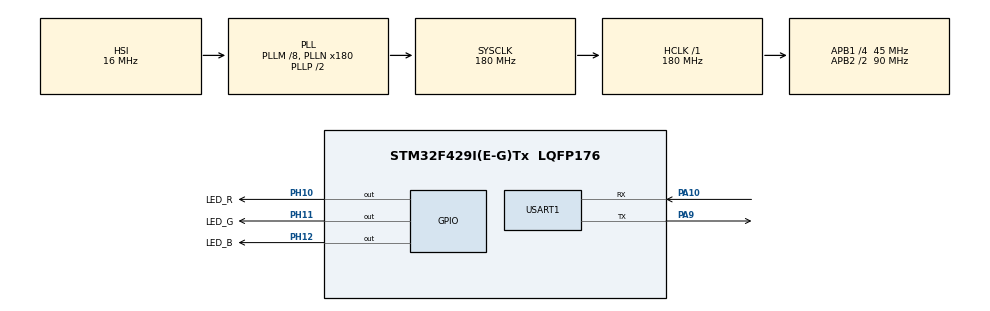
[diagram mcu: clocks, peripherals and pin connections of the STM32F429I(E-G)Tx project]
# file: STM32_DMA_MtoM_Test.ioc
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Dma.MEMTOMEM.0.Direction=DMA_MEMORY_TO_MEMORY
Dma.MEMTOMEM.0.FIFOMode=DMA_FIFOMODE_ENABLE
Dma.MEMTOMEM.0.FIFOThreshold=DMA_FIFO_THRESHOLD_FULL
Dma.MEMTOMEM.0.Instance=DMA2_Stream0
Dma.MEMTOMEM.0.MemBurst=DMA_MBURST_SINGLE
Dma.MEMTOMEM.0.MemDataAlignment=DMA_MDATAALIGN_BYTE
Dma.MEMTOMEM.0.MemInc=DMA_MINC_ENABLE
Dma.MEMTOMEM.0.Mode=DMA_NORMAL
Dma.MEMTOMEM.0.PeriphBurst=DMA_PBURST_SINGLE
Dma.MEMTOMEM.0.PeriphDataAlignment=DMA_PDATAALIGN_BYTE
Dma.MEMTOMEM.0.PeriphInc=DMA_PINC_ENABLE
Dma.MEMTOMEM.0.Priority=DMA_PRIORITY_HIGH
Dma.Request0=MEMTOMEM
Mcu.Family=STM32F4
Mcu.Name=STM32F429I(E-G)Tx
Mcu.Package=LQFP176
NVIC.PriorityGroup=NVIC_PRIORITYGROUP_4
PA10.Mode=Asynchronous
PA10.Signal=USART1_RX
PA9.Mode=Asynchronous
PA9.Signal=USART1_TX
PH0/OSC_IN.Mode=HSE-External-Oscillator
PH0/OSC_IN.Signal=RCC_OSC_IN
PH1/OSC_OUT.Mode=HSE-External-Oscillator
PH1/OSC_OUT.Signal=RCC_OSC_OUT
PH10.GPIO_Label=LED_R
PH10.Signal=GPIO_Output
PH11.GPIO_Label=LED_G
PH11.Signal=GPIO_Output
PH12.GPIO_Label=LED_B
PH12.Signal=GPIO_Output
ProjectManager.HeapSize=0x200
ProjectManager.StackSize=0x400
ProjectManager.TargetToolchain=MDK-ARM V5.27
RCC.48MHZClocksFreq_Value=90000000
RCC.AHBFreq_Value=180000000
RCC.APB1CLKDivider=RCC_HCLK_DIV4
RCC.APB1Freq_Value=45000000
RCC.APB1TimFreq_Value=90000000
RCC.APB2CLKDivider=RCC_HCLK_DIV2
RCC.APB2Freq_Value=90000000
RCC.APB2TimFreq_Value=180000000
RCC.CortexFreq_Value=180000000
RCC.HCLKFreq_Value=180000000
RCC.HSE_VALUE=25000000
RCC.HSI_VALUE=16000000
RCC.LSE_VALUE=32768
RCC.PLLM=8
RCC.PLLN=180
RCC.SYSCLKFreq_VALUE=180000000
RCC.SYSCLKSource=RCC_SYSCLKSOURCE_PLLCLK
RCC.VCOOutputFreq_Value=360000000
USART1.VirtualMode=VM_ASYNC
board=custom

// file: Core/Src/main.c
/* USER CODE BEGIN Header */
/**
  ******************************************************************************
  * @file           : main.c
  * @brief          : Main program body
  ******************************************************************************
  * @attention
  *
  * <h2><center>&copy; Copyright (c) 2022 STMicroelectronics.
  * All rights reserved.</center></h2>
  *
  * This software component is licensed by ST under BSD 3-Clause license,
  * the "License"; You may not use this file except in compliance with the
  * License. You may obtain a copy of the License at:
  *                        opensource.org/licenses/BSD-3-Clause
  *
  ******************************************************************************
  */
/* USER CODE END Header */
#include "main.h"
#include "dma.h"
#include "usart.h"
#include "gpio.h"

/* USER CODE BEGIN Includes */
#include "stdio.h"
/* USER CODE END Includes */

/* USER CODE BEGIN PV */
const uint32_t aSRC_Buffer[BUFFER_SIZE] = {	0x01020304,0x05060708,0x090A0B0C,0x0D0E0F10,
																						0x11121314,0x15161718,0x191A1B1C,0x1D1E1F20,
																						0x21222324,0x25262728,0x292A2B2C,0x2D2E2F30,
																						0x31323334,0x35363738,0x393A3B3C,0x3D3E3F40,
																						0x41424344,0x44564748,0x494A4B4C,0x4D4E4F50,
																						0x51525345,0x55565758,0x595A5B5C,0x5D5E5F60,
																						0x61626364,0x65666768,0x696A6B6C,0x6D6E6F70,
																						0x71727374,0x75767778,0x797A7B7C,0x7D7E7F80};

uint32_t aDST_Buffer[BUFFER_SIZE];

uint8_t TransferStatus = 0;

/* USER CODE END PV */

void SystemClock_Config(void);

int main(void)
{
  /* USER CODE BEGIN 1 */
	uint16_t i;
  /* USER CODE END 1 */

  /* MCU Configuration--------------------------------------------------------*/

  /* Reset of all peripherals, Initializes the Flash interface and the Systick. */
  HAL_Init();

  /* Configure the system clock */
  SystemClock_Config();

  /* Initialize all configured peripherals */
  MX_GPIO_Init();
  MX_DMA_Init();
  MX_USART1_UART_Init();
  /* USER CODE BEGIN 2 */

	printf("STM32 DMA Memory to Memory Test!\n");

	while(__HAL_DMA_GET_FLAG(&hdma_memtomem_dma2_stream0, DMA_FLAG_TCIF0_4) == DISABLE)
	{

	}

	printf("aSRC_Buffer: \n");

	for( i = 0; i < BUFFER_SIZE; i++)
	{
		printf("%d\t", aSRC_Buffer[i]);

		if(i % 7 == 0)
		{
			printf("\n");
		}
	}

	printf("\n");

	printf("aDST_Buffer: \n");

	for( i = 0; i < BUFFER_SIZE; i++)
	{
		printf("%d\t", aDST_Buffer[i]);

		if(i % 7 == 0)
		{
			printf("\n");
		}
	}

	printf("\n");

	TransferStatus = BufferCmp(aSRC_Buffer, aDST_Buffer, BUFFER_SIZE);

	printf("TransferStatus = %d\n", TransferStatus);

	if(TransferStatus)
	{
		//Green ON
		HAL_GPIO_WritePin(GPIOH, LED_R_Pin, GPIO_PIN_SET);
		HAL_GPIO_WritePin(GPIOH, LED_G_Pin, GPIO_PIN_RESET);
		HAL_GPIO_WritePin(GPIOH, LED_B_Pin, GPIO_PIN_SET);
	}
	else
	{
		//Blue ON
		HAL_GPIO_WritePin(GPIOH, LED_R_Pin, GPIO_PIN_SET);
		HAL_GPIO_WritePin(GPIOH, LED_G_Pin, GPIO_PIN_SET);
		HAL_GPIO_WritePin(GPIOH, LED_B_Pin, GPIO_PIN_RESET);
	}

  /* USER CODE END 2 */

  /* Infinite loop */
  while (1)
  {

  }
}

void SystemClock_Config(void)
{
  RCC_OscInitTypeDef RCC_OscInitStruct = {0};
  RCC_ClkInitTypeDef RCC_ClkInitStruct = {0};

  /** Configure the main internal regulator output voltage
  */
  __HAL_RCC_PWR_CLK_ENABLE();
  __HAL_PWR_VOLTAGESCALING_CONFIG(PWR_REGULATOR_VOLTAGE_SCALE1);
  /** Initializes the RCC Oscillators according to the specified parameters
  * in the RCC_OscInitTypeDef structure.
  */
  RCC_OscInitStruct.OscillatorType = RCC_OSCILLATORTYPE_HSI;
  RCC_OscInitStruct.HSIState = RCC_HSI_ON;
  RCC_OscInitStruct.HSICalibrationValue = RCC_HSICALIBRATION_DEFAULT;
  RCC_OscInitStruct.PLL.PLLState = RCC_PLL_ON;
  RCC_OscInitStruct.PLL.PLLSource = RCC_PLLSOURCE_HSI;
  RCC_OscInitStruct.PLL.PLLM = 8;
  RCC_OscInitStruct.PLL.PLLN = 180;
  RCC_OscInitStruct.PLL.PLLP = RCC_PLLP_DIV2;
  RCC_OscInitStruct.PLL.PLLQ = 4;
  if (HAL_RCC_OscConfig(&RCC_OscInitStruct) != HAL_OK)
  {
    Error_Handler();
  }
  /** Activate the Over-Drive mode
  */
  if (HAL_PWREx_EnableOverDrive() != HAL_OK)
  {
    Error_Handler();
  }
  /** Initializes the CPU, AHB and APB buses clocks
  */
  RCC_ClkInitStruct.ClockType = RCC_CLOCKTYPE_HCLK|RCC_CLOCKTYPE_SYSCLK
                              |RCC_CLOCKTYPE_PCLK1|RCC_CLOCKTYPE_PCLK2;
  RCC_ClkInitStruct.SYSCLKSource = RCC_SYSCLKSOURCE_PLLCLK;
  RCC_ClkInitStruct.AHBCLKDivider = RCC_SYSCLK_DIV1;
  RCC_ClkInitStruct.APB1CLKDivider = RCC_HCLK_DIV4;
  RCC_ClkInitStruct.APB2CLKDivider = RCC_HCLK_DIV2;

  if (HAL_RCC_ClockConfig(&RCC_ClkInitStruct, FLASH_LATENCY_5) != HAL_OK)
  {
    Error_Handler();
  }
}

/* USER CODE BEGIN 4 */
uint8_t BufferCmp(const uint32_t* pBufferSRC, uint32_t* pBufferDST, uint16_t BufferLength)
{
	while(BufferLength--)
	{
		if(*pBufferSRC != *pBufferDST)
		{

			return 0;

		}

		pBufferSRC++;
		pBufferDST++;
	}

	return 1;

}

/* USER CODE END 4 */

void Error_Handler(void)
{
  __disable_irq();
  while (1)
  {
  }
}

/************************ (C) COPYRIGHT STMicroelectronics *****END OF FILE****/
